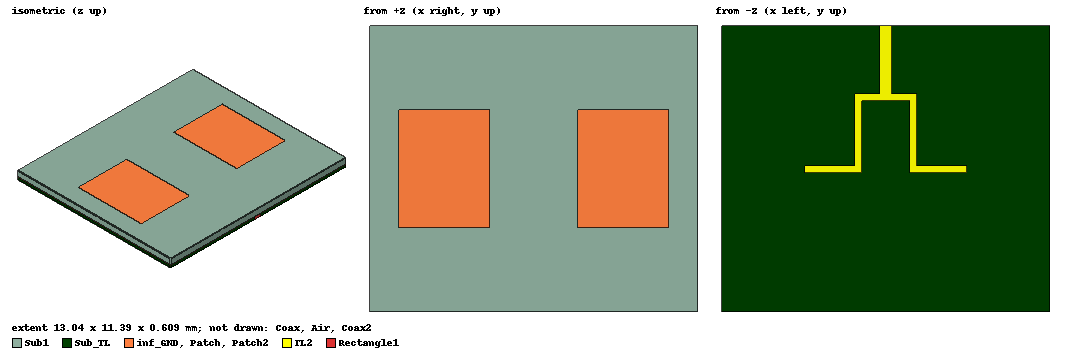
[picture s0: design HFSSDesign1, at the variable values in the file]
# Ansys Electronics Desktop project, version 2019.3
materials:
  vacuum: permittivity=1
  Rogers RT/duroid 5880 (tm): permittivity=2.2 dielectric_loss_tangent=0.0009
  pec: conductivity=1e+30
  Rogers RO4003 (tm): permittivity=3.55 dielectric_loss_tangent=0.0027

design HFSSDesign1 (HFSS, DrivenModal, model units mm)
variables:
  Lp = 3.6167246mm  # optimise 0.1mm..5mm
  Wp = 4.7mm  # optimise 1mm..6mm
  hs = 0.406mm
  Ws = 12.240310345*0.406mm+4.7*2mm+0.02mm-2*1.5mm
  Ls = 14*hs+3.68*2mm
  xsub = -Ls/2
  ysub = -Ws/2
  xfeed = 1.33mm
  dp = 3.5mm
  rcoax = 0.14mm
  hcoax = 0.203mm
  rprope = 0.07mm
  Lair = 0.01+Ls
  Wair = 0.01+Ws
  xair = Lair/2
  yair = Wair/2
  hair = 5mm
  yfeed = 0mm
  xp = dp/2
  yp = -Wp/2
  Wp2 = 12*hs+4.7*2
  hgnd = -0.032mm
  X_TL_1 = 2.288307mm
  Y_TL_1 = 0.276146mm
  Y_TL_vertical = 3.105225mm
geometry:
  Sub1 [Rogers RO4003 (tm)] = box(corner=(xsub, ysub, 0mm), size=(Ls, Ws, hs))
  Patch [Rogers RT/duroid 5880 (tm)] = rectangle(corner=(xp, yp, hs), x_size=Lp, y_size=Wp)
  Coax [vacuum] = cylinder(axis=Z, base_centre=(xp+xfeed, yfeed, 0mm), radius=rcoax, height=-hcoax)
  Coax_Pin [pec] = cylinder(axis=Z, base_centre=(xp+xfeed, yfeed, 0mm), radius=rprope, height=-hcoax)
  Prope [pec] = cylinder(axis=Z, base_centre=(xp+xfeed, yfeed, 0mm), radius=rprope, height=hs)
  Air [vacuum] = box(corner=(-xair, -yair, 0), size=(Lair, Wair, hair))
  Patch2 = rectangle(corner=(xp-Lp-dp, yp, hs), x_size=Lp, y_size=Wp)
  Coax2 [vacuum] = cylinder(axis=Z, base_centre=(-(xp+xfeed), yfeed, 0mm), radius=rcoax, height=-hcoax)
  Coax_Pin2 [pec] = cylinder(axis=Z, base_centre=(-(xp+xfeed), yfeed, 0mm), radius=rprope, height=-hcoax)
  Prope2 [pec] = cylinder(axis=Z, base_centre=(-(xp+xfeed), yfeed, 0mm), radius=rprope, height=hs)
  inf_GND [pec] = box(corner=(xsub, ysub, 0mm), size=(Ls, Ws, hgnd))
  Cylinder_cut_2 = cylinder(axis=Z, base_centre=(-(xp+xfeed), yfeed, 0), radius=rcoax, height=hgnd)
  Cylinder_cut_1 = cylinder(axis=Z, base_centre=(xp+xfeed, yfeed, 0), radius=rcoax, height=hgnd)
  inf_GND.subtract(Cylinder_cut_1)
  inf_GND.subtract(Cylinder_cut_2)
  Sub_TL [Rogers RO4003 (tm)] = box(corner=(xsub, ysub, 0mm), size=(Ls, Ws, -0.203mm))
  TL1 = rectangle(corner=(-3.23mm, -0.14mm, -0.203mm), x_size=X_TL_1, y_size=Y_TL_1)
  TL2 [pec] = rectangle(corner=((-3.26+4.2) mm, -0.14mm, -0.203mm), x_size=X_TL_1, y_size=Y_TL_1)
  vertical_R = rectangle(corner=(0.94mm, -0.14mm, -0.203mm), x_size=0.276146mm, y_size=Y_TL_vertical)
  vertiacal_L = rectangle(corner=(-0.941693mm, -0.14mm, -0.203mm), x_size=0.276146mm, y_size=Y_TL_vertical)
  vertiacal_L.move(-0.8mm, 0mm, 0mm)
  vertiacal_L.move(0.52mm, 0mm, 0mm)
  tL_horizontal = rectangle(corner=(-1.221693mm, 2.965225mm, -0.203mm), x_size=2.437693mm, y_size=0.276146mm)
  tL_horizontal.move(0mm, -0.6mm, 0mm)
  tL_horizontal.move(0mm, 0.325mm, 0mm)
  TL1.unite(vertiacal_L)
  TL2.unite(vertical_R)
  TL2.unite(tL_horizontal)
  TL2.unite(TL1)
  T_feed = rectangle(corner=(-(0.45407/2) mm, 0mm, -0.203mm), x_size=0.45407mm, y_size=4.494783mm-1.5mm)
  T_feed.move(0mm, 2.6mm, 0mm)
  T_feed.move(0mm, 0.15mm, 0mm)
  T_feed.move(0mm, -0.05mm, 0mm)
  TL2.unite(T_feed)
  Rectangle1 = rectangle(corner=(-0.227035mm, (7.194783-1.5) mm, -0.203mm), z_size=0.203mm+hgnd, x_size=0.45407mm)
  group Input_feed1 = Coax, Coax_Pin, Prope
  group Input_feed2 = Coax2, Coax_Pin2, Prope2
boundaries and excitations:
  PerfE_Patch: Perfect E Objects=Patch
  Rad1: Radiation Faces=Air.face(+x, +y, -y, -x, +z)
  PerfE1: Perfect E Objects=Patch2
  PerfE_TL: Perfect E Objects=TL2
  1: Lumped Port Objects=Rectangle1 Modes{Mode1{IntLine{(0mm, 5.694783mm, -0.2mm) -> middle of Rectangle1.edge(z opposite corner)} CharImp=Zpi RenormImp=50ohm}} Impedance=50ohm
  reference conductors: inf_GND
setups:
  Setup1: HfssDriven Frequency=20GHz MaxDeltaS=0.02 MaximumPasses=18 MinimumPasses=1 MinimumConvergedPasses=1 PercentRefinement=30 BasisOrder=1 PortAccuracy=2
    sweep Sweep: 10GHz to 30GHz step 0.1GHz; Type=Fast SaveFields SaveRadFields GenerateFieldsForAllFreqs
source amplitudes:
  1:1: 1W 0deg
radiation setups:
  e_plane: Infinite Sphere Theta=-180deg..180deg step 2deg Phi=0deg..0deg step 1deg
  h_plane: Infinite Sphere Theta=-180deg..180deg step 2deg Phi=90deg..90deg step 1deg
  3d: Infinite Sphere Theta=-180deg..180deg step 2deg Phi=0deg..360deg step 2deg
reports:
  Eradation_pattern: abs(rETotal) vs Theta on Setup1 : LastAdaptive, e_plane [Phi=all Freq=20GHz]
  Hradation_pattern: abs(rETotal) vs Theta on Setup1 : LastAdaptive, h_plane [Phi=all Freq=20GHz]
  Co_X_graph: dB10normalize(GainPhi), dB10normalize(GainTheta) vs Theta on Setup1 : LastAdaptive, e_plane [Phi=0deg Freq=20GHz]
  Gain Plot 1: GainTotal vs Theta on Setup1 : LastAdaptive, e_plane [Phi=all Freq=20GHz]
  Z Parameter Plot 1: mag(Z(1,1)) vs Freq on Setup1 : Sweep; markers MX1 at x=2.0006696e+10
  S Parameter Plot 3: dB(S(1,1)) vs Freq on Setup1 : Sweep [Lp=all Wp=all]
  Z Parameter Plot 2: mag(Z(1,1)) vs Freq on Setup1 : Sweep [Lp=all Wp=all]; markers MX1 at x=2.0005574e+10
  Port Zo Plot 1: mag(Zo(1)) vs Freq on Setup1 : Sweep [Lp=all Wp=all]; markers MX1 at x=1.9996656e+10
  VSWR Plot 1: VSWR(1) vs Freq on Setup1 : Sweep [Lp=all Wp=all]; markers m1 at 20GHz
  Gain Plot 1_1: GainTotal vs Theta
  S Parameter Plot 4: dB(S(1,1)) vs Freq on Setup1 : Sweep [Wp=all]
  S Parameter Plot 5: dB(S(1,1)) vs Freq on Setup1 : Sweep [Lp=all Wp=all]
  S Parameter Plot 6: dB(S(1,1)) vs Freq on Setup1 : Sweep
  S Parameter Plot 7: dB(S(1,1)) vs Freq on Setup1 : Sweep
  S Parameter Plot 8: dB(S(1,1)) vs Freq on Setup1 : Sweep
  Gain Plot 2: GainTotal vs Phi, Theta on Setup1 : LastAdaptive, e_plane [Freq=20GHz]
  Gain Plot 3: GainTotal vs Phi, Theta on Setup1 : LastAdaptive, 3d [Freq=20GHz]
  S Parameter Plot 9: dB(S(1,1)) vs Freq on Setup1 : Sweep
  rE Plot 1: dB(rETotal) vs Phi, Theta on Setup1 : LastAdaptive, 3d [Freq=20GHz]
  Gain Plot 4: GainTotal vs Phi, Theta on Setup1 : LastAdaptive, e_plane [Freq=20GHz]
  Gain Plot 5: dB(GainTotal) vs Phi, Theta on Setup1 : LastAdaptive, e_plane [Freq=20GHz]
  Directivity Plot 1: mag(DirTotal) vs Phi, Theta on Setup1 : LastAdaptive, e_plane [Freq=20GHz]
  rE Plot 2: dB(rETotal) vs Phi, Theta on Setup1 : LastAdaptive, e_plane [Freq=20GHz]
  rE Plot 3: dB(rETotal) vs Phi, Theta on Setup1 : LastAdaptive, 3d [Freq=20GHz]
